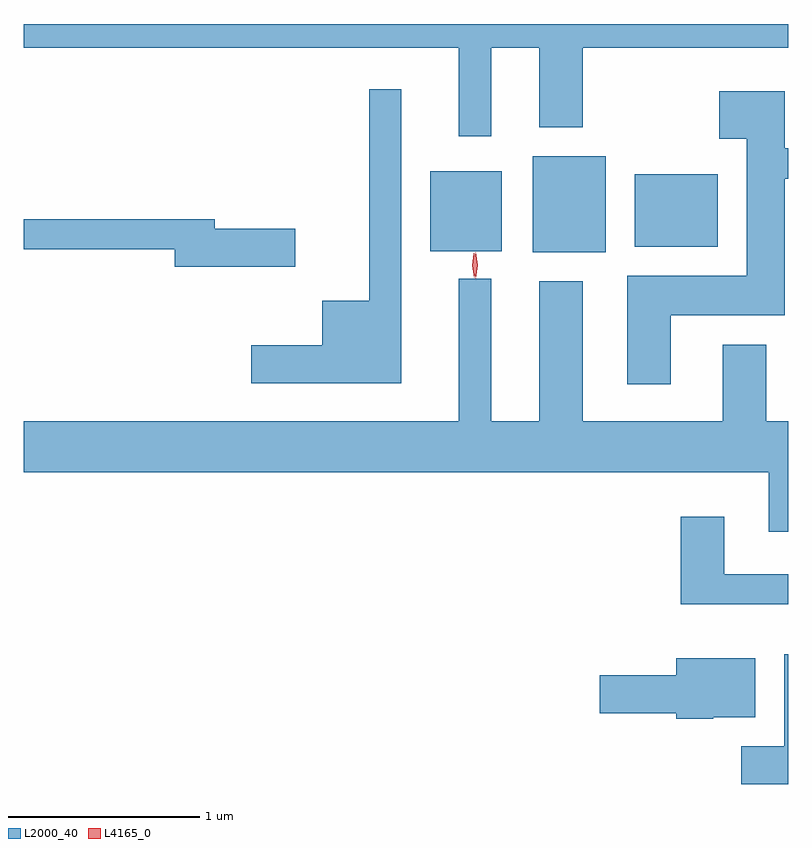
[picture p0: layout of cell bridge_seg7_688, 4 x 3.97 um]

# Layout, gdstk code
import gdstk
lib = gdstk.Library(unit=1e-6, precision=1e-09)
def R(c, l, rs):  # rectangles x0, y0, x1, y1
    for r in rs: c.add(gdstk.rectangle(r[:2], r[2:], *l))
def P(c, l, *ps):  # polygons
    for p in ps: c.add(gdstk.Polygon(p, *l))
L2000_40 = (2000, 40)
L4165_0 = (4165, 0)

bridge_seg7_688 = lib.new_cell('bridge_seg7_688')
R(bridge_seg7_688, L2000_40, [(872.036,1711.026,872.419,1711.529), (871.501,1711.031,871.874,1711.449), (872.571,1711.056,873.004,1711.434)])
P(bridge_seg7_688, L2000_40, [(871.819,1712.096),(872.071,1712.096),(872.071,1711.681),(872.299,1711.681),(872.299,1712.096),(873.374,1712.096),(873.374,1712.22),(869.374,1712.22),(869.374,1712.096),(871.651,1712.096),(871.651,1711.633),(871.819,1711.633)],
  [(871.349,1711.878),(871.181,1711.878),(871.181,1710.774),(870.936,1710.774),(870.936,1710.539),(870.566,1710.539),(870.566,1710.341),(871.349,1710.341)],
  [(872.759,1710.696),(873.354,1710.696),(873.354,1711.411),(873.374,1711.411),(873.374,1711.569),(873.354,1711.569),(873.354,1711.869),(873.011,1711.869),(873.011,1711.621),(873.156,1711.621),(873.156,1710.904),(872.531,1710.904),(872.531,1710.336),(872.759,1710.336)],
  [(870.794,1711.149),(870.374,1711.149),(870.374,1711.199),(869.374,1711.199),(869.374,1711.041),(870.166,1711.041),(870.166,1710.951),(870.794,1710.951)],
  [(873.374,1710.144),(873.259,1710.144),(873.259,1710.544),(873.031,1710.544),(873.031,1710.144),(872.299,1710.144),(872.299,1710.874),(872.071,1710.874),(872.071,1710.144),(871.819,1710.144),(871.819,1710.888),(871.651,1710.888),(871.651,1710.144),(869.374,1710.144),(869.374,1709.876),(873.271,1709.876),(873.271,1709.566),(873.374,1709.566)],
  [(873.374,1709.344),(873.039,1709.344),(873.039,1709.644),(872.811,1709.644),(872.811,1709.186),(873.374,1709.186)],
  [(873.374,1708.924),(873.351,1708.924),(873.351,1708.444),(873.126,1708.444),(873.126,1708.246),(873.374,1708.246)],
  [(872.98,1708.596),(873.199,1708.596),(873.199,1708.904),(872.786,1708.904),(872.786,1708.814),(872.386,1708.814),(872.386,1708.616),(872.786,1708.616),(872.786,1708.586),(872.98,1708.586)])
P(bridge_seg7_688, L4165_0, [(871.738,1710.889),(871.738,1710.89),(871.728,1710.958),(871.738,1711.026),(871.738,1711.026),(871.738,1711.026),(871.748,1710.958),(871.738,1710.89)],
  [(871.73,1710.893),(871.73,1710.893),(871.72,1710.957),(871.729,1711.021),(871.729,1711.022),(871.73,1711.021),(871.74,1710.957),(871.731,1710.893)])

lib.write_gds('bridge_seg7_688.gds')
